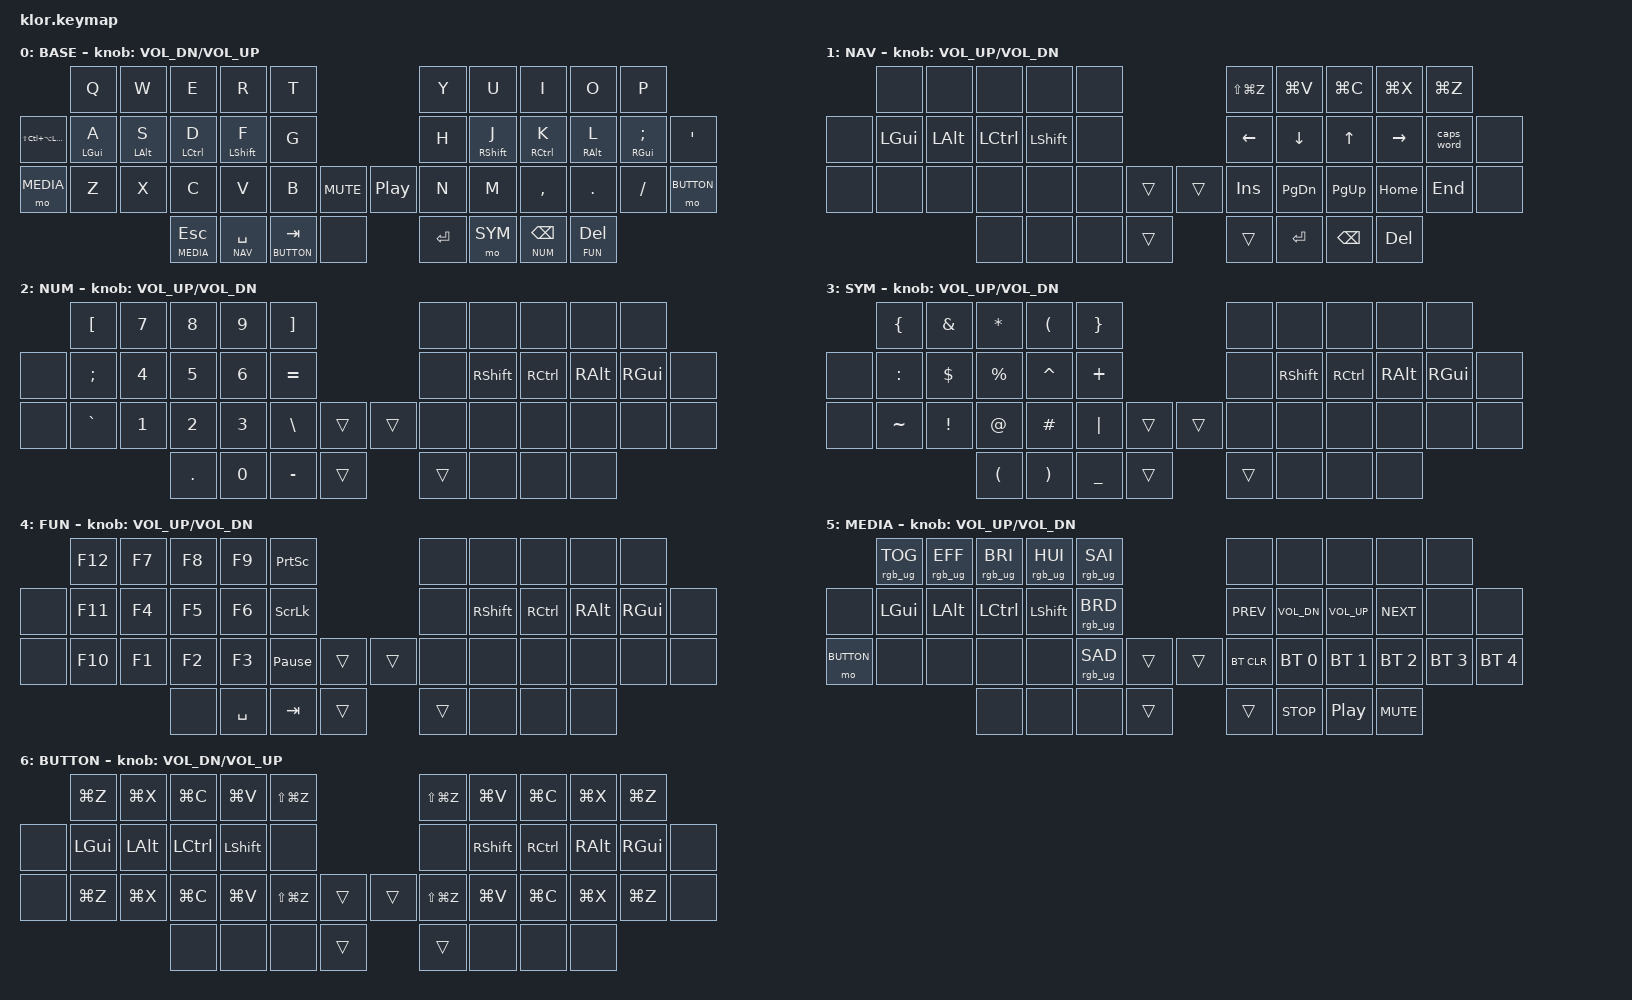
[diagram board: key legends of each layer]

//                               █         █    █            ▄▄▄▀▀▀▀▀▀▄▄▄        █▀▀▀▀▀▀▀▀▀▀█
//                               █        █     █          ▄▀            ▀▄      █          █
//                               █       █      █        ▄▀                ▀▄    █          █
//                               █      █       █        █                  █    █          █
//                               █     █        █       █                    █   █          █
//                               █    █         █       █                    █   █▄▄▄▄▄▄▄▄▄▄█
//                               █   █ █        █       █                    █   █      █
//                               █  █   █       █        █                  █    █       █
//                               █ █     █      █        ▀▄                ▄▀    █        █
//                               ██       █     █          ▀▄            ▄▀      █         █
//                               █         █    █▄▄▄▄▄▄▄▄    ▀▀▀▄▄▄▄▄▄▀▀▀        █          █
//
// ▄▄▄▄▄▄▄▄▄▄▄▄▄▄▄▄▄▄▄▄▄▄▄▄▄▄▄▄▄▄▄▄▄▄▄▄▄▄▄▄▄▄▄▄▄▄▄▄▄▄▄▄▄▄▄▄▄▄▄▄▄▄▄▄▄▄▄▄▄▄▄▄▄▄▄▄▄▄▄▄▄▄▄▄▄▄▄▄▄▄▄▄▄▄▄▄▄▄▄▄▄▄▄▄▄▄▄▄▄▄▄▄▄▄▄▄▄▄▄▄▄▄▄▄▄
//
// KLOR - Miryoku-inspired Layout
// Base: QWERTY with home row mods
// Inspired by Miryoku but standalone and easily extensible
        
#include <behaviors.dtsi>
#include <dt-bindings/zmk/keys.h>
#include <dt-bindings/zmk/bt.h>
#include <dt-bindings/zmk/outputs.h>
#include <dt-bindings/zmk/rgb.h>

// Layer definitions
#define BASE   0
#define NAV    1
#define NUM    2
#define SYM    3
#define FUN    4
#define MEDIA  5
#define BUTTON 6

#define HYPER &kp LS(LC(LA(LGUI)))

/ {
    behaviors {
        // Mod-tap behavior for home row mods
        // Balanced configuration: not too sensitive, works well for typing
        mt: mod_tap {
            compatible = "zmk,behavior-hold-tap";
            label = "MOD_TAP";
            #binding-cells = <2>;
            tapping-term-ms = <220>;
            quick-tap-ms = <200>;
            global-quick-tap;
            flavor = "tap-preferred";
            bindings = <&kp>, <&kp>;
        };

        // Layer-tap behavior for thumb keys
        lt: layer_tap {
            compatible = "zmk,behavior-hold-tap";
            label = "LAYER_TAP";
            #binding-cells = <2>;
            tapping-term-ms = <200>;
            quick-tap-ms = <200>;
            flavor = "balanced";
            bindings = <&mo>, <&kp>;
        };
    };

    combos {
        compatible = "zmk,combos";
        
        // Combo: Q + W = ESC
        combo_esc {
            timeout-ms = <50>;
            key-positions = <0 1>;
            bindings = <&kp ESC>;
        };

        // Combo: Both shift keys = Caps Word
        combo_caps_word {
            timeout-ms = <50>;
            key-positions = <14 17>;
            bindings = <&caps_word>;
        };
    };

    keymap {
        compatible = "zmk,keymap";

// ▄▄▄▄▄▄▄▄▄▄▄▄▄▄▄▄▄▄▄▄▄▄▄▄▄▄▄▄▄▄▄▄▄▄▄▄▄▄▄▄▄▄▄▄▄▄▄▄▄▄▄▄▄▄▄▄▄▄▄▄▄▄▄▄▄▄▄▄▄▄▄▄▄▄▄▄▄▄▄▄▄▄▄▄▄▄▄▄▄▄▄▄▄▄▄▄▄▄▄▄▄▄▄▄▄▄▄▄▄▄▄▄▄▄▄▄▄▄▄▄▄▄▄▄▄

        base_layer {
// ┌───────────────────────────────────────────────────────────┐
label= "BASE"                                                  ;
// └───────────────────────────────────────────────────────────┘
// QWERTY layout with home row mods (Miryoku-style)
// Home row: GUI/ALT/CTRL/SHIFT on left, mirrored on right
/*           ┌─────────┬─────────┬─────────┬─────────┬─────────┐                    ┌─────────┬─────────┬─────────┬─────────┬─────────┐
             │    Q    │    W    │    E    │    R    │    T    │                    │    Y    │    U    │    I    │    O    │    P    │   
   ┌─────────┼─────────┼─────────┼─────────┼─────────┼─────────┤                    ├─────────┼─────────┼─────────┼─────────┼─────────┼─────────┐
   │  HYPER  │  A/GUI  │  S/ALT  │  D/CTRL │  F/SHFT │    G    │                    │    H    │  J/SHFT │  K/CTRL │  L/ALT  │  ;/GUI  │    '    │
   ├─────────┼─────────┼─────────┼─────────┼─────────┼─────────┤╭────────╮╭────────╮├─────────┼─────────┼─────────┼─────────┼─────────┼─────────┤
   │  MEDIA  │    Z    │    X    │    C    │    V    │    B    ││  MUTE  ││PLY/PSE ││    N    │    M    │    ,    │    .    │    /    │  BUTTON │
   └─────────┴─────────┴─────────┼─────────┼─────────┼─────────┼╰────────╯╰────────╯┼─────────┼─────────┼─────────┼─────────┴─────────┴─────────┘
                                 │ ESC/MED │ SPC/NAV │ TAB/BTN │         ││   RET   │   SYM   │ BSP/NUM │ DEL/FUN │  
                                 └─────────┴─────────┴─────────┴─────────┘└─────────┴─────────┴─────────┴─────────┘ */ 

bindings = <
//╷           ╷           ╷           ╷           ╷           ╷           ╷           ╷╷           ╷           ╷           ╷           ╷           ╷           ╷           ╷
                &kp Q       &kp W       &kp E       &kp R       &kp T                               &kp Y       &kp U       &kp I       &kp O       &kp P
  HYPER         &mt LGUI A  &mt LALT S  &mt LCTRL D &mt LSHFT F &kp G                               &kp H       &mt RSHFT J &mt RCTRL K &mt RALT L  &mt RGUI SEMI &kp SQT
  &mo MEDIA     &kp Z       &kp X       &kp C       &kp V       &kp B       &kp C_MUTE  &kp C_PP    &kp N       &kp M       &kp COMMA   &kp DOT     &kp FSLH    &mo BUTTON
                                        &lt MEDIA ESC &lt NAV SPACE &lt BUTTON TAB &none   &kp RET  &mo SYM &lt NUM BSPC &lt FUN DEL    
            >;
sensor-bindings = <&inc_dec_kp C_VOL_DN C_VOL_UP>;
        };

// ▄▄▄▄▄▄▄▄▄▄▄▄▄▄▄▄▄▄▄▄▄▄▄▄▄▄▄▄▄▄▄▄▄▄▄▄▄▄▄▄▄▄▄▄▄▄▄▄▄▄▄▄▄▄▄▄▄▄▄▄▄▄▄▄▄▄▄▄▄▄▄▄▄▄▄▄▄▄▄▄▄▄▄▄▄▄▄▄▄▄▄▄▄▄▄▄▄▄▄▄▄▄▄▄▄▄▄▄▄▄▄▄▄▄▄▄▄▄▄▄▄▄▄▄▄

        nav_layer {
// ┌───────────────────────────────────────────────────────────┐
label= "NAV"                                                   ;
// └───────────────────────────────────────────────────────────┘
// Navigation layer: arrows, page up/down, home/end
// Clipboard shortcuts: Undo, Cut, Copy, Paste, Redo
/*           ┌─────────┬─────────┬─────────┬─────────┬─────────┐                    ┌─────────┬─────────┬─────────┬─────────┬─────────┐
             │         │         │         │         │         │                    │  REDO   │  PASTE  │  COPY   │   CUT   │  UNDO   │
   ┌─────────┼─────────┼─────────┼─────────┼─────────┼─────────┤                    ├─────────┼─────────┼─────────┼─────────┼─────────┼─────────┐
   │         │   GUI   │   ALT   │  CTRL   │  SHIFT  │         │                    │    ←    │    ↓    │    ↑    │    →    │ CAPSWRD │         │
   ├─────────┼─────────┼─────────┼─────────┼─────────┼─────────┤╭────────╮╭────────╮├─────────┼─────────┼─────────┼─────────┼─────────┼─────────┤
   │         │         │         │         │         │         ││        ││        ││  INSERT │  PG DN  │  PG UP  │  HOME   │   END   │         │
   └─────────┴─────────┴─────────┼─────────┼─────────┼─────────┼╰────────╯╰────────╯┼─────────┼─────────┼─────────┼─────────┴─────────┴─────────┘
                                 │         │ ▓▓▓▓▓▓▓ │         │         ││         │  ENTER  │  BSPC   │   DEL   │  
                                 └─────────┴─────────┴─────────┴─────────┘└─────────┴─────────┴─────────┴─────────┘ */ 
bindings = <
//╷           ╷           ╷           ╷           ╷           ╷           ╷           ╷╷           ╷           ╷           ╷           ╷           ╷           ╷           ╷
                &none       &none       &none       &none       &none                               &kp LS(LG(Z)) &kp LG(V) &kp LG(C)   &kp LG(X)   &kp LG(Z)
  &none         &kp LGUI    &kp LALT    &kp LCTRL   &kp LSHFT   &none                               &kp LEFT    &kp DOWN    &kp UP      &kp RIGHT   &caps_word  &none
  &none         &none       &none       &none       &none       &none       &trans      &trans      &kp INS     &kp PG_DN   &kp PG_UP   &kp HOME    &kp END     &none
                                        &none       &none       &none       &trans      &trans      &kp RET     &kp BSPC    &kp DEL
            >;
sensor-bindings = <&inc_dec_kp C_VOL_UP C_VOL_DN>;
        };

// ▄▄▄▄▄▄▄▄▄▄▄▄▄▄▄▄▄▄▄▄▄▄▄▄▄▄▄▄▄▄▄▄▄▄▄▄▄▄▄▄▄▄▄▄▄▄▄▄▄▄▄▄▄▄▄▄▄▄▄▄▄▄▄▄▄▄▄▄▄▄▄▄▄▄▄▄▄▄▄▄▄▄▄▄▄▄▄▄▄▄▄▄▄▄▄▄▄▄▄▄▄▄▄▄▄▄▄▄▄▄▄▄▄▄▄▄▄▄▄▄▄▄▄▄▄

        num_layer {
// ┌───────────────────────────────────────────────────────────┐
label= "NUM"                                                   ;
// └───────────────────────────────────────────────────────────┘
// Numbers layer with numpad-style layout on left hand
/*           ┌─────────┬─────────┬─────────┬─────────┬─────────┐                    ┌─────────┬─────────┬─────────┬─────────┬─────────┐
             │    [    │    7    │    8    │    9    │    ]    │                    │         │         │         │         │         │
   ┌─────────┼─────────┼─────────┼─────────┼─────────┼─────────┤                    ├─────────┼─────────┼─────────┼─────────┼─────────┼─────────┐
   │         │    ;    │    4    │    5    │    6    │    =    │                    │         │  SHIFT  │  CTRL   │   ALT   │   GUI   │         │
   ├─────────┼─────────┼─────────┼─────────┼─────────┼─────────┤╭────────╮╭────────╮├─────────┼─────────┼─────────┼─────────┼─────────┼─────────┤
   │         │    `    │    1    │    2    │    3    │    \    ││        ││        ││         │         │         │         │         │         │
   └─────────┴─────────┴─────────┼─────────┼─────────┼─────────┼╰────────╯╰────────╯┼─────────┼─────────┼─────────┼─────────┴─────────┴─────────┘
                                 │    .    │    0    │    -    │         ││         │         │ ▓▓▓▓▓▓▓ │         │  
                                 └─────────┴─────────┴─────────┴─────────┘└─────────┴─────────┴─────────┴─────────┘ */ 
bindings = <
//╷           ╷           ╷           ╷           ╷           ╷           ╷           ╷╷           ╷           ╷           ╷           ╷           ╷           ╷           ╷
                &kp LBKT    &kp N7      &kp N8      &kp N9      &kp RBKT                            &none       &none       &none       &none       &none
  &none         &kp SEMI    &kp N4      &kp N5      &kp N6      &kp EQUAL                           &none       &kp RSHFT   &kp RCTRL   &kp RALT    &kp RGUI    &none
  &none         &kp GRAVE   &kp N1      &kp N2      &kp N3      &kp BSLH    &trans      &trans      &none       &none       &none       &none       &none       &none
                                        &kp DOT     &kp N0      &kp MINUS   &trans      &trans      &none       &none       &none
            >;
sensor-bindings = <&inc_dec_kp C_VOL_UP C_VOL_DN>;
        };

// ▄▄▄▄▄▄▄▄▄▄▄▄▄▄▄▄▄▄▄▄▄▄▄▄▄▄▄▄▄▄▄▄▄▄▄▄▄▄▄▄▄▄▄▄▄▄▄▄▄▄▄▄▄▄▄▄▄▄▄▄▄▄▄▄▄▄▄▄▄▄▄▄▄▄▄▄▄▄▄▄▄▄▄▄▄▄▄▄▄▄▄▄▄▄▄▄▄▄▄▄▄▄▄▄▄▄▄▄▄▄▄▄▄▄▄▄▄▄▄▄▄▄▄▄▄

        sym_layer {
// ┌───────────────────────────────────────────────────────────┐
label= "SYM"                                                   ;
// └───────────────────────────────────────────────────────────┘
// Symbols layer: shifted numbers and common programming symbols
/*           ┌─────────┬─────────┬─────────┬─────────┬─────────┐                    ┌─────────┬─────────┬─────────┬─────────┬─────────┐
             │    {    │    &    │    *    │    (    │    }    │                    │         │         │         │         │         │
   ┌─────────┼─────────┼─────────┼─────────┼─────────┼─────────┤                    ├─────────┼─────────┼─────────┼─────────┼─────────┼─────────┐
   │         │    :    │    $    │    %    │    ^    │    +    │                    │         │  SHIFT  │  CTRL   │   ALT   │   GUI   │         │
   ├─────────┼─────────┼─────────┼─────────┼─────────┼─────────┤╭────────╮╭────────╮├─────────┼─────────┼─────────┼─────────┼─────────┼─────────┤
   │         │    ~    │    !    │    @    │    #    │    |    ││        ││        ││         │         │         │         │         │         │
   └─────────┴─────────┴─────────┼─────────┼─────────┼─────────┼╰────────╯╰────────╯┼─────────┼─────────┼─────────┼─────────┴─────────┴─────────┘
                                 │    (    │    )    │    _    │         ││         │ ▓▓▓▓▓▓▓ │         │         │  
                                 └─────────┴─────────┴─────────┴─────────┘└─────────┴─────────┴─────────┴─────────┘ */ 
bindings = <
//╷           ╷           ╷           ╷           ╷           ╷           ╷           ╷╷           ╷           ╷           ╷           ╷           ╷           ╷           ╷
                &kp LBRC    &kp AMPS    &kp STAR    &kp LPAR    &kp RBRC                            &none       &none       &none       &none       &none
  &none         &kp COLON   &kp DLLR    &kp PRCNT   &kp CARET   &kp PLUS                            &none       &kp RSHFT   &kp RCTRL   &kp RALT    &kp RGUI    &none
  &none         &kp TILDE   &kp EXCL    &kp AT      &kp HASH    &kp PIPE    &trans      &trans      &none       &none       &none       &none       &none       &none
                                        &kp LPAR    &kp RPAR    &kp UNDER   &trans      &trans      &none       &none       &none
            >;
sensor-bindings = <&inc_dec_kp C_VOL_UP C_VOL_DN>;
        };

// ▄▄▄▄▄▄▄▄▄▄▄▄▄▄▄▄▄▄▄▄▄▄▄▄▄▄▄▄▄▄▄▄▄▄▄▄▄▄▄▄▄▄▄▄▄▄▄▄▄▄▄▄▄▄▄▄▄▄▄▄▄▄▄▄▄▄▄▄▄▄▄▄▄▄▄▄▄▄▄▄▄▄▄▄▄▄▄▄▄▄▄▄▄▄▄▄▄▄▄▄▄▄▄▄▄▄▄▄▄▄▄▄▄▄▄▄▄▄▄▄▄▄▄▄▄

        fun_layer {
// ┌───────────────────────────────────────────────────────────┐
label= "FUN"                                                   ;
// └───────────────────────────────────────────────────────────┘
// Function keys layer
/*           ┌─────────┬─────────┬─────────┬─────────┬─────────┐                    ┌─────────┬─────────┬─────────┬─────────┬─────────┐
             │   F12   │   F7    │   F8    │   F9    │ PRT SCR │                    │         │         │         │         │         │
   ┌─────────┼─────────┼─────────┼─────────┼─────────┼─────────┤                    ├─────────┼─────────┼─────────┼─────────┼─────────┼─────────┐
   │         │   F11   │   F4    │   F5    │   F6    │ SCR LCK │                    │         │  SHIFT  │  CTRL   │   ALT   │   GUI   │         │
   ├─────────┼─────────┼─────────┼─────────┼─────────┼─────────┤╭────────╮╭────────╮├─────────┼─────────┼─────────┼─────────┼─────────┼─────────┤
   │         │   F10   │   F1    │   F2    │   F3    │  PAUSE  ││        ││        ││         │         │         │         │         │         │
   └─────────┴─────────┴─────────┼─────────┼─────────┼─────────┼╰────────╯╰────────╯┼─────────┼─────────┼─────────┼─────────┴─────────┴─────────┘
                                 │         │  SPACE  │   TAB   │         ││         │         │         │ ▓▓▓▓▓▓▓ │  
                                 └─────────┴─────────┴─────────┴─────────┘└─────────┴─────────┴─────────┴─────────┘ */ 
bindings = <
//╷           ╷           ╷           ╷           ╷           ╷           ╷           ╷╷           ╷           ╷           ╷           ╷           ╷           ╷           ╷
                &kp F12     &kp F7      &kp F8      &kp F9      &kp PSCRN                           &none       &none       &none       &none       &none
  &none         &kp F11     &kp F4      &kp F5      &kp F6      &kp SLCK                            &none       &kp RSHFT   &kp RCTRL   &kp RALT    &kp RGUI    &none
  &none         &kp F10     &kp F1      &kp F2      &kp F3      &kp PAUSE_BREAK &trans  &trans      &none       &none       &none       &none       &none       &none
                                        &none       &kp SPACE   &kp TAB     &trans      &trans      &none       &none       &none
            >;
sensor-bindings = <&inc_dec_kp C_VOL_UP C_VOL_DN>;
        };

// ▄▄▄▄▄▄▄▄▄▄▄▄▄▄▄▄▄▄▄▄▄▄▄▄▄▄▄▄▄▄▄▄▄▄▄▄▄▄▄▄▄▄▄▄▄▄▄▄▄▄▄▄▄▄▄▄▄▄▄▄▄▄▄▄▄▄▄▄▄▄▄▄▄▄▄▄▄▄▄▄▄▄▄▄▄▄▄▄▄▄▄▄▄▄▄▄▄▄▄▄▄▄▄▄▄▄▄▄▄▄▄▄▄▄▄▄▄▄▄▄▄▄▄▄▄

        media_layer {
// ┌───────────────────────────────────────────────────────────┐
label= "MEDIA"                                                 ;
// └───────────────────────────────────────────────────────────┘
// Media controls and Bluetooth profiles
/*           ┌─────────┬─────────┬─────────┬─────────┬─────────┐                    ┌─────────┬─────────┬─────────┬─────────┬─────────┐
             │ RGB TOG │ RGB EFF │RGB BRI+ │RGB HUE+ │RGB SAT+ │                    │         │         │         │         │         │
   ┌─────────┼─────────┼─────────┼─────────┼─────────┼─────────┤                    ├─────────┼─────────┼─────────┼─────────┼─────────┼─────────┐
   │         │   GUI   │   ALT   │  CTRL   │  SHIFT  │RGB BRI- │                    │  PREV   │  VOL DN │  VOL UP │  NEXT   │         │         │
   ├─────────┼─────────┼─────────┼─────────┼─────────┼─────────┤╭────────╮╭────────╮├─────────┼─────────┼─────────┼─────────┼─────────┼─────────┤
   │  BUTTON │         │         │         │         │RGB SAT- │││        ││        ││ BT CLR  │  BT 0   │  BT 1   │  BT 2   │  BT 3   │  BT 4   │
   └─────────┴─────────┴─────────┼─────────┼─────────┼─────────┼╰────────╯╰────────╯┼─────────┼─────────┼─────────┼─────────┴─────────┴─────────┘
                                 │ ▓▓▓▓▓▓▓ │         │         │         ││         │  STOP   │  PLAY   │  MUTE   │  
                                 └─────────┴─────────┴─────────┴─────────┘└─────────┴─────────┴─────────┴─────────┘ */ 
bindings = <
//╷           ╷           ╷           ╷           ╷           ╷           ╷           ╷╷           ╷           ╷           ╷           ╷           ╷           ╷           ╷
                &rgb_ug RGB_TOG &rgb_ug RGB_EFF &rgb_ug RGB_BRI &rgb_ug RGB_HUI &rgb_ug RGB_SAI     &none       &none       &none       &none       &none
  &none         &kp LGUI    &kp LALT    &kp LCTRL   &kp LSHFT   &rgb_ug RGB_BRD                     &kp C_PREV  &kp C_VOL_DN &kp C_VOL_UP &kp C_NEXT &none       &none
  &mo BUTTON    &none       &none       &none       &none       &rgb_ug RGB_SAD &trans  &trans      &bt BT_CLR  &bt BT_SEL 0 &bt BT_SEL 1 &bt BT_SEL 2 &bt BT_SEL 3 &bt BT_SEL 4
                                        &none       &none       &none       &trans      &trans      &kp C_STOP  &kp C_PP    &kp C_MUTE
            >;
sensor-bindings = <&inc_dec_kp C_VOL_UP C_VOL_DN>;
        };

// ▄▄▄▄▄▄▄▄▄▄▄▄▄▄▄▄▄▄▄▄▄▄▄▄▄▄▄▄▄▄▄▄▄▄▄▄▄▄▄▄▄▄▄▄▄▄▄▄▄▄▄▄▄▄▄▄▄▄▄▄▄▄▄▄▄▄▄▄▄▄▄▄▄▄▄▄▄▄▄▄▄▄▄▄▄▄▄▄▄▄▄▄▄▄▄▄▄▄▄▄▄▄▄▄▄▄▄▄▄▄▄▄▄▄▄▄▄▄▄▄▄▄▄▄▄

        button_layer {
// ┌───────────────────────────────────────────────────────────┐
label= "BUTTON"                                                ;
// └───────────────────────────────────────────────────────────┘
// Button layer: Additional utilities and shortcuts
// Mirrored clipboard shortcuts on both sides for one-handed use
/*           ┌─────────┬─────────┬─────────┬─────────┬─────────┐                    ┌─────────┬─────────┬─────────┬─────────┬─────────┐
             │  UNDO   │   CUT   │  COPY   │  PASTE  │  REDO   │                    │  REDO   │  PASTE  │  COPY   │   CUT   │  UNDO   │
   ┌─────────┼─────────┼─────────┼─────────┼─────────┼─────────┤                    ├─────────┼─────────┼─────────┼─────────┼─────────┼─────────┐
   │ ▓▓▓▓▓▓▓ │   GUI   │   ALT   │  CTRL   │  SHIFT  │         │                    │         │  SHIFT  │  CTRL   │   ALT   │   GUI   │ ▓▓▓▓▓▓▓ │
   ├─────────┼─────────┼─────────┼─────────┼─────────┼─────────┤╭────────╮╭────────╮├─────────┼─────────┼─────────┼─────────┼─────────┼─────────┤
   │         │  UNDO   │   CUT   │  COPY   │  PASTE  │  REDO   ││        ││        ││  REDO   │  PASTE  │  COPY   │   CUT   │  UNDO   │         │
   └─────────┴─────────┴─────────┼─────────┼─────────┼─────────┼╰────────╯╰────────╯┼─────────┼─────────┼─────────┼─────────┴─────────┴─────────┘
                                 │         │         │ ▓▓▓▓▓▓▓ │         ││         │         │         │         │  
                                 └─────────┴─────────┴─────────┴─────────┘└─────────┴─────────┴─────────┴─────────┘ */ 
bindings = <
//╷           ╷           ╷           ╷           ╷           ╷           ╷           ╷╷           ╷           ╷           ╷           ╷           ╷           ╷           ╷
                &kp LG(Z)   &kp LG(X)   &kp LG(C)   &kp LG(V)   &kp LS(LG(Z))                       &kp LS(LG(Z)) &kp LG(V) &kp LG(C)   &kp LG(X)   &kp LG(Z)
  &none         &kp LGUI    &kp LALT    &kp LCTRL   &kp LSHFT   &none                               &none       &kp RSHFT   &kp RCTRL   &kp RALT    &kp RGUI    &none
  &none         &kp LG(Z)   &kp LG(X)   &kp LG(C)   &kp LG(V)   &kp LS(LG(Z)) &trans    &trans      &kp LS(LG(Z)) &kp LG(V) &kp LG(C)   &kp LG(X)   &kp LG(Z)   &none
                                        &none       &none       &none       &trans      &trans      &none       &none       &none
            >;
sensor-bindings = <&inc_dec_kp C_VOL_DN C_VOL_UP>;
        };
    };
};
